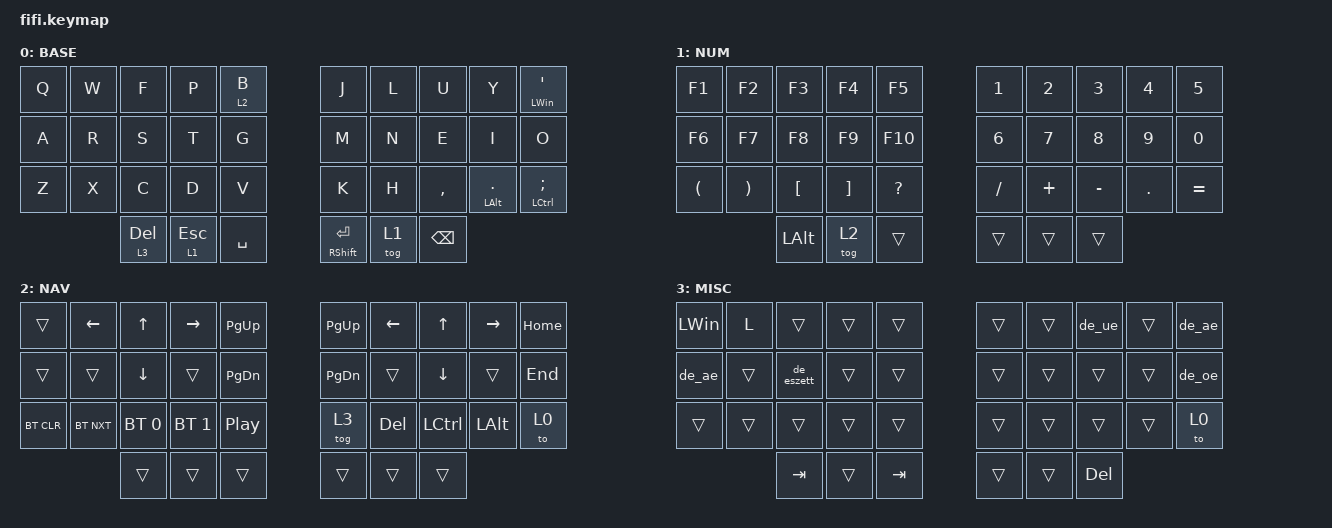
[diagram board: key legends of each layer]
/*
 * Copyright (c) 2020 The ZMK Contributors
 *
 * SPDX-License-Identifier: MIT
 */

#include <behaviors.dtsi>
#include <dt-bindings/zmk/keys.h>
#include <dt-bindings/zmk/bt.h>

#include "../config/zmk-nodefree-config-main/helper.h"
#include "../config/zmk-nodefree-config-main/keypos_def/keypos_36keys.h"
#include "../config/zmk-nodefree-config-main/international_chars/german.dtsi"
#include "../config/zmk-nodefree-config-main/international_chars/german_alt.dtsi"

#define HOST_OS 2
#define DEFAULT 0
#define NUM     1
#define NAV     2
#define MISC    3




&mt {
    tapping-term-ms = <150>;
    flavor = "tap-preferred";
    };


/ {
    behaviors {
        hm: homerow_mods {
            compatible = "zmk,behavior-hold-tap";
            label = "homerow mods";
            #binding-cells = <2>;
            tapping_term_ms = <200>;
            quick-tap-ms = <0>;
            flavor = "tap-preferred";
            bindings = <&kp>, <&kp>;
            };
        
        ht_hp: ht_hp_mods {
            compatible = "zmk,behavior-hold-tap";
            label = "HT_HP";
            #binding-cells = <2>;
            tapping-term-ms = <250>;
            flavor = "hold-preferred";
            bindings = <&kp>, <&kp>;
            };
        parentheses_chevrons: parentheses_chevrons {
            compatible = "zmk,behavior-mod-morph";
            label = "parentheses_chevrons";
            #binding-cells = <0>;
            bindings = <&parentheses>, <&chevrons>;
            mods = <(MOD_LSFT)>;
            };


        };
    };

/ {
    macros {

            your_macro: your_macro {
            compatible = "zmk,behavior-macro";
            label = "YOUR_MACRO";
            #binding-cells = <0>;
            bindings =
               <&macro_press &kp LSHFT>,
               <&macro_press &kp LGUI>,
               <&macro_tap &kp S>,
               <&macro_release &kp LGUI>,
               <&macro_release &kp LSHFT>;
            };

            macro_par: macro_par {
                label = "macro_par";
                compatible = "zmk,behavior-macro";
                #binding-cells = <0>;
                tap-ms = <10>;
                wait-ms = <10>;
                bindings = <&macro_tap &kp LPAR &kp RPAR &kp LEFT>;
                };

            parentheses: parentheses {
                        label = "parentheses";
                        compatible = "zmk,behavior-macro";
                        #binding-cells = <0>;
                        bindings = <&macro_tap &kp LPAR &kp RPAR &kp LEFT>;
                };

            chevrons: chevrons {
                label = "chevrons";
                compatible = "zmk,behavior-macro";
                #binding-cells = <0>;
                wait-ms = <10>;
                tap-ms = <10>;
                bindings = <&macro_tap &kp LT &kp GT &kp LEFT>;
                };

          };
    };



                                  // ╭─────────────┬─────────────┬─────────────┬─────────────┬─────────────╮   ╭─────────────┬─────────────┬─────────────┬─────────────┬─────────────╮
                                  //	    0             1             2             3            4                  5             6             7             8             9
                                  // ├─────────────┼─────────────┼─────────────┼─────────────┼─────────────┤   ├─────────────┼─────────────┼─────────────┼─────────────┼─────────────┤
                                  //       10             11             12            13          14                 15            16            17            18            19
                                  // ├─────────────┼─────────────┼─────────────┼─────────────┼─────────────┤   ├─────────────┼─────────────┼─────────────┼─────────────┼─────────────┤
                                  //       20             21             22            23          24                 25            26            27            28            29	
                                  // ╰─────────────┼─────────────┼─────────────┼─────────────┼─────────────┤   ├─────────────┼─────────────┼─────────────┼─────────────┼─────────────╯
                                  //                                	31	          31	       32               33             34            35
                                  //                             ╰─────────────┴─────────────┴─────────────╯   ╰─────────────┴─────────────┴─────────────╯




/ {
    combos {
        compatible = "zmk,combos";
        combo_scrn_shot {
            timeout-ms = <50>;
            key-positions = <0 4>;
            bindings = <&kp LG(LS(S))>;
        };

        combo_scsnip {
            timeout-ms = <50>;
            key-positions = <0 9>;
            bindings = <&your_macro>;
        };


        combo_alt_tab {
            timeout-ms = <50>;
            key-positions = <0 5>;
            bindings = <&kp LA(TAB)>;
        };

        combo_Parentheses {
            timeout-ms = <50>;
            key-positions = <0 29>;
            bindings = <&macro_par>;
        };

        combo_bracket_round_l {
            timeout-ms = <50>;
            key-positions = <0 18>;
            bindings = <&kp LPAR>;
        };

        combo_bracket_round_r {
            timeout-ms = <50>;
            key-positions = <0 19>;
            bindings = <&kp RPAR>;
        };

        combo_parentheses_chevrons {
            timeout-ms = <50>;
            key-positions = <0 26>;
            bindings = <&parentheses_chevrons>;
        };

        combo_bracket_square_l {
            timeout-ms = <50>;
            key-positions = <0 16>;
            bindings = <&kp LBKT>;
        };

        combo_bracket_square_r {
            timeout-ms = <50>;
            key-positions = <0 17>;
            bindings = <&kp RBKT>;
        };
    };

};

/ {
    keymap {
            compatible = "zmk,keymap";

            BASE {
                    label = "BASE";
                    bindings = <
                                  // ╭─────────────┬─────────────┬─────────────┬─────────────┬─────────────╮   ╭─────────────┬─────────────┬─────────────┬─────────────┬───────────────────╮
                                           &kp Q        &kp W          &kp F        &kp P      &lt 2 B             &kp J          &kp L        &kp U          &kp Y       &ht_hp LWIN SQT
                                  // ├─────────────┼─────────────┼─────────────┼─────────────┼─────────────┤   ├─────────────┼─────────────┼─────────────┼─────────────┼───────────────────┤
                                           &kp A        &kp R          &kp S        &kp T         &kp G             &kp M          &kp N        &kp E          &kp I           &kp O
                                  // ├─────────────┼─────────────┼─────────────┼─────────────┼─────────────┤   ├─────────────┼─────────────┼─────────────┼─────────────┼───────────────────┤
                                           &kp Z        &kp X          &kp C        &kp D         &kp V             &kp K          &kp H     &kp COMMA   &ht_hp LALT DOT  &ht_hp LCTRL SEMI 
                                  // ╰─────────────┼─────────────┼─────────────┼─────────────┼─────────────┤   ├─────────────┼─────────────┼─────────────┼─────────────┼───────────────────╯
                                                                   &lt 3 DEL      &lt 1 ESC     &kp SPACE       &mt RSHFT RET      &tog 1       &kp BSPC
                                  //                             ╰─────────────┴─────────────┴─────────────╯   ╰─────────────┴─────────────┴─────────────╯
                                >;
                };

            NUM {
                    label = "NUM";
                    bindings = <
                                
                                  // ╭─────────────┬─────────────┬─────────────┬─────────────┬─────────────╮   ╭─────────────┬─────────────┬─────────────┬─────────────┬─────────────╮      
                                          &kp F1        &kp F2        &kp F3        &kp F4        &kp F5            &kp N1         &kp N2       &kp N3        &kp N4        &kp N5
                                  // ├─────────────┼─────────────┼─────────────┼─────────────┼─────────────┤   ├─────────────┼─────────────┼─────────────┼─────────────┼─────────────┤
                                          &kp F6        &kp F7        &kp F8        &kp F9        &kp F10           &kp N6         &kp N7       &kp N8        &kp N9        &kp N0
                                  // ├─────────────┼─────────────┼─────────────┼─────────────┼─────────────┤   ├─────────────┼─────────────┼─────────────┼─────────────┼─────────────┤
                                          &kp LPAR     &kp RPAR       &kp LBKT      &kp RBKT      &kp QMARK         &kp FSLH       &kp PLUS     &kp MINUS     &kp DOT       &kp EQUAL
                                  // ╰─────────────┼─────────────┼─────────────┼─────────────┼─────────────┤   ├─────────────┼─────────────┼─────────────┼─────────────┼─────────────╯
                                                                      &kp LALT      &tog 2        &trans            &trans         &trans       &trans
                                  //                             ╰─────────────┴─────────────┴─────────────╯   ╰─────────────┴─────────────┴─────────────╯
                            >;
                };

            NAV {
                    label = "NAV";
                    bindings = <
                                  // ╭─────────────┬─────────────┬─────────────┬─────────────┬─────────────╮   ╭─────────────┬─────────────┬─────────────┬─────────────┬─────────────╮  
                                          &trans       &kp LEFT       &kp UP      &kp RIGHT     &kp PG_UP           &kp PG_UP       &kp LEFT      &kp UP      &kp RIGHT       &kp HOME
                                  // ├─────────────┼─────────────┼─────────────┼─────────────┼─────────────┤   ├─────────────┼─────────────┼─────────────┼─────────────┼─────────────┤
                                          &trans       &trans         &kp DOWN      &trans      &kp PG_DN           &kp PG_DN        &trans        &kp DOWN    &trans          &kp END
                                  // ├─────────────┼─────────────┼─────────────┼─────────────┼─────────────┤   ├─────────────┼─────────────┼─────────────┼─────────────┼─────────────┤
                                        &bt BT_CLR    &bt BT_NXT   &bt BT_SEL 0  &bt BT_SEL 1   &kp C_PP            &tog 3       &kp DELETE     &kp LCTRL   &kp LALT        &to 0
                                  // ╰─────────────┼─────────────┼─────────────┼─────────────┼─────────────┤   ├─────────────┼─────────────┼─────────────┼─────────────┼─────────────╯
                                                                      &trans        &trans      &trans              &trans        &trans        &trans
                                  //                             ╰─────────────┴─────────────┴─────────────╯   ╰─────────────┴─────────────┴─────────────╯
                            >;
                };

            MISC {
                    bindings = <
                                  // ╭─────────────┬─────────────┬─────────────┬─────────────┬─────────────╮   ╭─────────────┬─────────────┬─────────────┬─────────────┬─────────────╮ 
                                         &kp LWIN       &kp L         &trans        &trans       &trans             &trans        &trans        &de_ue        &trans        &de_ae
                                  // ├─────────────┼─────────────┼─────────────┼─────────────┼─────────────┤   ├─────────────┼─────────────┼─────────────┼─────────────┼─────────────┤
                                         &de_ae         &trans      &de_eszett      &trans       &trans             &trans        &trans        &trans        &trans        &de_oe
                                  // ├─────────────┼─────────────┼─────────────┼─────────────┼─────────────┤   ├─────────────┼─────────────┼─────────────┼─────────────┼─────────────┤
                                         &trans         &trans        &trans        &trans       &trans             &trans        &trans        &trans        &trans        &to 0
                                  // ╰─────────────┼─────────────┼─────────────┼─────────────┼─────────────┤   ├─────────────┼─────────────┼─────────────┼─────────────┼─────────────╯
                                                                      &kp TAB       &trans       &kp TAB            &trans        &trans        &kp DEL
                                  //                             ╰─────────────┴─────────────┴─────────────╯   ╰─────────────┴─────────────┴─────────────╯
                            >;
                };
        };
};
